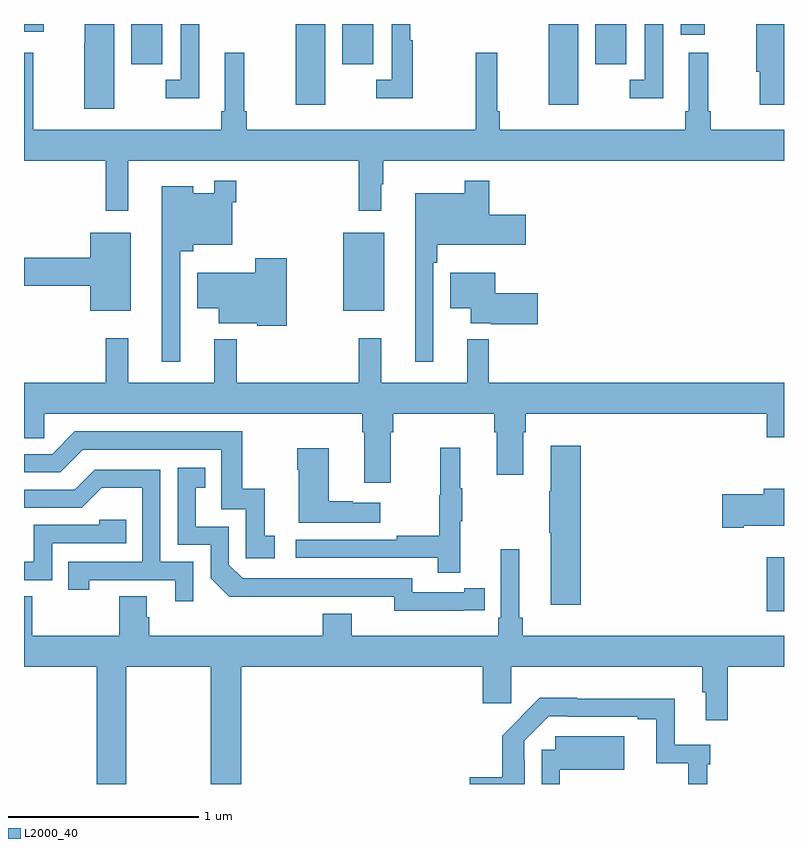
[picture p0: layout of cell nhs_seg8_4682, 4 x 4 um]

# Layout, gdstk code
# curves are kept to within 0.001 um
import gdstk
lib = gdstk.Library(unit=1e-6, precision=1e-09)
def R(c, l, rs):  # rectangles x0, y0, x1, y1
    for r in rs: c.add(gdstk.rectangle(r[:2], r[2:], *l))
def P(c, l, *ps):  # polygons
    for p in ps: c.add(gdstk.Polygon(p, *l))
L2000_40 = (2000, 40)

nhs_seg8_4682 = lib.new_cell('nhs_seg8_4682')
R(nhs_seg8_4682, L2000_40, [(398.909,1100.808,399,1101.094), (396.68,1102.391,396.895,1102.801), (396.431,1103.475,396.586,1103.9), (397.763,1103.475,397.918,1103.9), (395.564,1103.688,395.728,1103.9), (396.674,1103.688,396.838,1103.9), (398.006,1103.688,398.17,1103.9), (398.456,1103.843,398.584,1103.9), (395,1103.858,395.104,1103.9)])
P(nhs_seg8_4682, L2000_40, [(397.045,1103.814),(397.034,1103.814),(397.034,1103.9),(396.936,1103.9),(396.936,1103.607),(396.855,1103.607),(396.855,1103.51),(397.045,1103.51)],
  [(395.923,1103.736),(395.922,1103.736),(395.922,1103.9),(395.826,1103.9),(395.826,1103.607),(395.745,1103.607),(395.745,1103.51),(395.923,1103.51)],
  [(399,1103.9),(398.855,1103.9),(398.855,1103.649),(398.873,1103.649),(398.873,1103.475),(399,1103.475)],
  [(398.365,1103.736),(398.364,1103.736),(398.364,1103.9),(398.268,1103.9),(398.268,1103.607),(398.187,1103.607),(398.187,1103.51),(398.365,1103.51)],
  [(395.476,1103.9),(395.321,1103.9),(395.321,1103.802),(395.318,1103.802),(395.318,1103.454),(395.476,1103.454)],
  [(395.548,1103.18),(396.763,1103.18),(396.763,1102.917),(396.88,1102.917),(396.88,1103.057),(396.892,1103.057),(396.892,1103.18),(399,1103.18),(399,1103.344),(398.615,1103.344),(398.615,1103.44),(398.6,1103.44),(398.6,1103.749),(398.498,1103.749),(398.498,1103.44),(398.479,1103.44),(398.479,1103.344),(397.505,1103.344),(397.505,1103.44),(397.49,1103.44),(397.49,1103.749),(397.377,1103.749),(397.377,1103.344),(396.173,1103.344),(396.173,1103.44),(396.158,1103.44),(396.158,1103.749),(396.056,1103.749),(396.056,1103.44),(396.037,1103.44),(396.037,1103.344),(395.048,1103.344),(395.048,1103.749),(395,1103.749),(395,1103.18),(395.431,1103.18),(395.431,1102.917),(395.548,1102.917)],
  [(397.155,1102.643),(397.175,1102.643),(397.175,1102.739),(397.642,1102.739),(397.642,1102.897),(397.448,1102.897),(397.448,1103.074),(397.32,1103.074),(397.32,1103.008),(397.058,1103.008),(397.058,1102.122),(397.155,1102.122)],
  [(395.823,1102.703),(395.89,1102.703),(395.89,1102.739),(396.096,1102.739),(396.096,1102.961),(396.116,1102.961),(396.116,1103.074),(396,1103.074),(396,1103.008),(395.89,1103.008),(395.89,1103.047),(395.726,1103.047),(395.726,1102.122),(395.823,1102.122)],
  [(395.563,1102.801),(395.348,1102.801),(395.348,1102.67),(395,1102.67),(395,1102.523),(395.348,1102.523),(395.348,1102.391),(395.563,1102.391)],
  [(396.382,1102.666),(396.217,1102.666),(396.217,1102.591),(395.912,1102.591),(395.912,1102.403),(396.026,1102.403),(396.026,1102.325),(396.228,1102.325),(396.228,1102.313),(396.382,1102.313)],
  [(397.705,1102.483),(397.48,1102.483),(397.48,1102.591),(397.244,1102.591),(397.244,1102.403),(397.352,1102.403),(397.352,1102.325),(397.456,1102.325),(397.456,1102.32),(397.705,1102.32)],
  [(396.763,1102.012),(396.119,1102.012),(396.119,1102.24),(396.002,1102.24),(396.002,1102.012),(395.549,1102.012),(395.549,1102.246),(395.431,1102.246),(395.431,1102.012),(395,1102.012),(395,1101.721),(395.106,1101.721),(395.106,1101.848),(396.779,1101.848),(396.779,1101.752),(396.791,1101.752),(396.791,1101.486),(396.931,1101.486),(396.931,1101.752),(396.944,1101.752),(396.944,1101.848),(397.475,1101.848),(397.475,1101.752),(397.487,1101.752),(397.487,1101.528),(397.627,1101.528),(397.627,1101.752),(397.64,1101.752),(397.64,1101.848),(398.909,1101.848),(398.909,1101.724),(399,1101.724),(399,1102.012),(397.446,1102.012),(397.446,1102.24),(397.334,1102.24),(397.334,1102.012),(396.881,1102.012),(396.881,1102.246),(396.763,1102.246)],
  [(396.319,1101.207),(396.266,1101.207),(396.266,1101.454),(396.148,1101.454),(396.148,1101.756),(395.268,1101.756),(395.148,1101.636),(395,1101.636),(395,1101.54),(395.19,1101.54),(395.31,1101.66),(396.039,1101.66),(396.039,1101.345),(396.168,1101.345),(396.168,1101.087),(396.319,1101.087)],
  [(397.931,1101.679),(397.772,1101.679),(397.772,1101.44),(397.765,1101.44),(397.765,1101.223),(397.772,1101.223),(397.772,1100.844),(397.931,1100.844)],
  [(397.295,1101.283),(397.306,1101.283),(397.306,1101.457),(397.295,1101.457),(397.295,1101.67),(397.192,1101.67),(397.192,1101.42),(397.185,1101.42),(397.185,1101.206),(396.961,1101.206),(396.961,1101.186),(396.429,1101.186),(396.429,1101.09),(397.177,1101.09),(397.177,1101.012),(397.295,1101.012)],
  [(396.874,1101.379),(396.731,1101.379),(396.731,1101.389),(396.604,1101.389),(396.604,1101.667),(396.439,1101.667),(396.439,1101.554),(396.446,1101.554),(396.446,1101.275),(396.874,1101.275)],
  [(397.316,1100.814),(397.424,1100.814),(397.424,1100.93),(397.316,1100.93),(397.316,1100.91),(397.044,1100.91),(397.044,1100.982),(396.15,1100.982),(396.078,1101.054),(396.078,1101.255),(395.905,1101.255),(395.905,1101.459),(395.954,1101.459),(395.954,1101.565),(395.808,1101.565),(395.808,1101.159),(395.982,1101.159),(395.982,1100.982),(396.08,1100.885),(396.948,1100.886),(396.948,1100.813)],
  [(395.892,1101.069),(395.718,1101.069),(395.718,1101.555),(395.372,1101.555),(395.267,1101.45),(395,1101.45),(395,1101.354),(395.304,1101.354),(395.408,1101.458),(395.622,1101.458),(395.622,1101.069),(395.233,1101.069),(395.233,1100.922),(395.344,1100.922),(395.344,1100.973),(395.795,1100.973),(395.795,1100.862),(395.892,1100.862)],
  [(398.788,1101.26),(399,1101.26),(399,1101.454),(398.894,1101.454),(398.894,1101.426),(398.676,1101.426),(398.676,1101.248),(398.788,1101.248)],
  [(395.148,1101.168),(395.537,1101.168),(395.537,1101.291),(395.397,1101.291),(395.397,1101.264),(395.052,1101.264),(395.052,1101.069),(395,1101.069),(395,1100.973),(395.148,1100.973)],
  [(395.538,1100.516),(395.983,1100.516),(395.983,1099.9),(396.143,1099.9),(396.143,1100.516),(397.415,1100.516),(397.415,1100.325),(397.565,1100.325),(397.565,1100.516),(398.569,1100.516),(398.569,1100.384),(398.588,1100.384),(398.588,1100.235),(398.705,1100.235),(398.705,1100.516),(399,1100.516),(399,1100.68),(397.625,1100.68),(397.625,1100.776),(397.606,1100.776),(397.606,1101.136),(397.509,1101.136),(397.509,1100.776),(397.496,1100.776),(397.496,1100.68),(396.724,1100.68),(396.724,1100.797),(396.572,1100.797),(396.572,1100.68),(395.66,1100.68),(395.66,1100.778),(395.647,1100.778),(395.647,1100.888),(395.5,1100.888),(395.5,1100.68),(395.043,1100.68),(395.043,1100.888),(395,1100.888),(395,1100.516),(395.383,1100.516),(395.383,1099.9),(395.538,1099.9)],
  [(397.635,1100.027),(397.632,1100.027),(397.632,1100.127),(397.761,1100.256),(397.861,1100.256),(397.861,1100.253),(398.231,1100.253),(398.231,1100.241),(398.327,1100.241),(398.327,1100.01),(398.496,1100.01),(398.496,1099.9),(398.597,1099.9),(398.597,1100.003),(398.612,1100.003),(398.612,1100.106),(398.425,1100.106),(398.425,1100.35),(397.913,1100.35),(397.913,1100.353),(397.714,1100.353),(397.517,1100.155),(397.517,1099.936),(397.346,1099.936),(397.346,1099.9),(397.635,1099.9)],
  [(397.821,1099.976),(398.158,1099.976),(398.158,1100.152),(397.797,1100.152),(397.797,1100.079),(397.725,1100.079),(397.725,1099.9),(397.821,1099.9)])

lib.write_gds('nhs_seg8_4682.gds')
